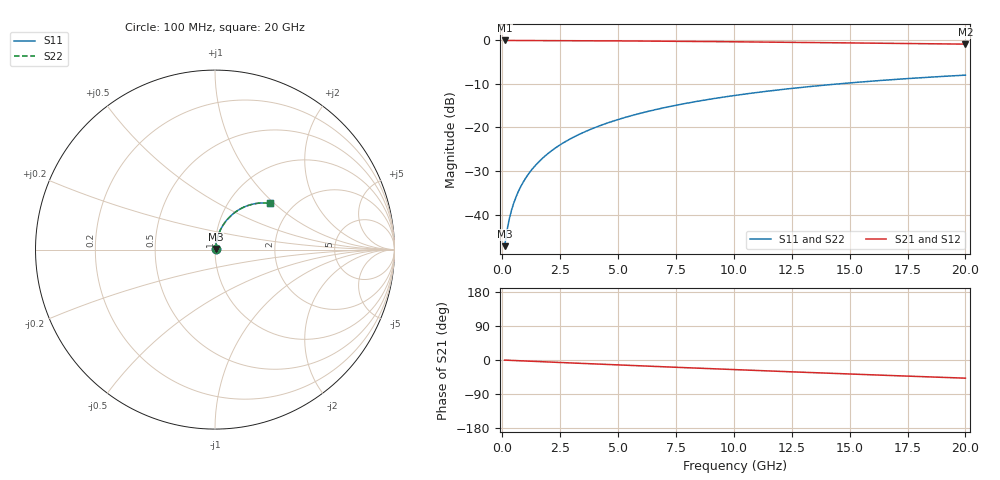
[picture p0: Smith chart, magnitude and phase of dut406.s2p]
! Touchstone file exported from HFSS 2026.1.0
!  File:  C:/ffzhzh/LocalFiles/Ansys_Project_Files/temp_train_TMRDL_406_1783004999_46388.aedt
!  Generated:  11:11:21 PM Jul  2, 2026
!  Design:  TMRDL
!  Project:  temp_train_TMRDL_406_1783004999_46388
! Variables:
!  h_bsmrdl = 2um
!  h_ox = 20um
!  h_rdl = 5um
!  h_sub = 80um
!  h_tmrdl = 4.1um
!  h_tsv = 80um
!  h_via = 3um
!  l_bsmrdl = 300um
!  l_sub = 1138.55um
!  l_tmrdl = 738.55um
!  m_sub = 200um
!  pitch = 43.5um
!  r_tsv = 6um
!  s_tmrdl = 10um
!  w_bsmrdl = 18um
!  w_sub = 500um
!  w_tmrdl = 20.3um
!  x_tsv_center1 = 748.7um
!  x_tsv_center2 = 1066.7um
!  x_tsv_center3 = 1825.55um
!  x_tsv_center4 = 2143.55um
!  x_tsv_center5 = 2902.4um
!  x_tsv_center6 = 3220.4um
# GHz S MA R 50.000000
! Terminal data exported
! Port[1] = TM_RDL1_1_T1
! Port[2] = TM_RDL1_1_T2
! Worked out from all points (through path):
!   200 points, 100 MHz to 20 GHz, reference 50 ohm
!   highest |S21| = -0.03 dB at 100 MHz (marker M1); lowest = -0.9 dB at 20 GHz (marker M2)
!   group delay of S21, straight-line fit = 6.66 ps
!   lowest |S11| = -47.3 dB at 100 MHz (marker M3), VSWR 1.01, Z = 50.3 + j0.28 ohm
!   |S11| at or under -10 dB: start of sweep to 14.52 GHz
!   |S22| runs from -47.3 to -8.0 dB; largest |S21 - S12| = 2e-15
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0.1  0.00433 40.0  0.9967 -0.3  0.9967 -0.3  0.00433 40.0
! Gamma 0 0 0 0
! Port Impedance 50 0 50 0
0.2  0.006496 57.0  0.9965 -0.5  0.9965 -0.5  0.006496 57.0
0.3  0.00885 64.8  0.9963 -0.8  0.9963 -0.8  0.00885 64.8
0.4  0.01124 69.2  0.9962 -1.1  0.9962 -1.1  0.01124 69.2
0.5  0.01365 72.1  0.996 -1.3  0.996 -1.3  0.01365 72.1
0.6  0.01608 74.1  0.9959 -1.6  0.9959 -1.6  0.01608 74.1
0.8  0.02099 76.6  0.9957 -2.1  0.9957 -2.1  0.02099 76.6
1.1  0.02842 78.5  0.9954 -2.9  0.9954 -2.9  0.02842 78.5
1.3  0.03339 79.1  0.9951 -3.4  0.9951 -3.4  0.03339 79.1
1.6  0.04086 79.5  0.9947 -4.2  0.9947 -4.2  0.04086 79.5
2.1  0.05328 79.3  0.9938 -5.5  0.9938 -5.5  0.05328 79.3
2.7  0.06808 78.6  0.9925 -7.1  0.9925 -7.1  0.06808 78.6
3.5  0.08757 77.1  0.9904 -9.1  0.9904 -9.1  0.08757 77.1
4.2  0.1043 75.6  0.9882 -10.9  0.9882 -10.9  0.1043 75.6
5  0.1232 73.8  0.9854 -13.0  0.9854 -13.0  0.1232 73.8
5.9  0.1439 71.7  0.9819 -15.2  0.9819 -15.2  0.1439 71.7
6.8  0.1642 69.6  0.9781 -17.5  0.9781 -17.5  0.1642 69.6
8.3  0.1968 66.1  0.9711 -21.2  0.9711 -21.2  0.1968 66.1
10.1  0.2341 62.0  0.962 -25.6  0.962 -25.6  0.2341 61.9
13.4  0.2967 54.5  0.9435 -33.3  0.9435 -33.3  0.2967 54.5
16.7  0.3516 47.3  0.9239 -40.8  0.9239 -40.8  0.3516 47.2
20  0.3984 40.3  0.9045 -47.9  0.9045 -47.9  0.3984 40.3
